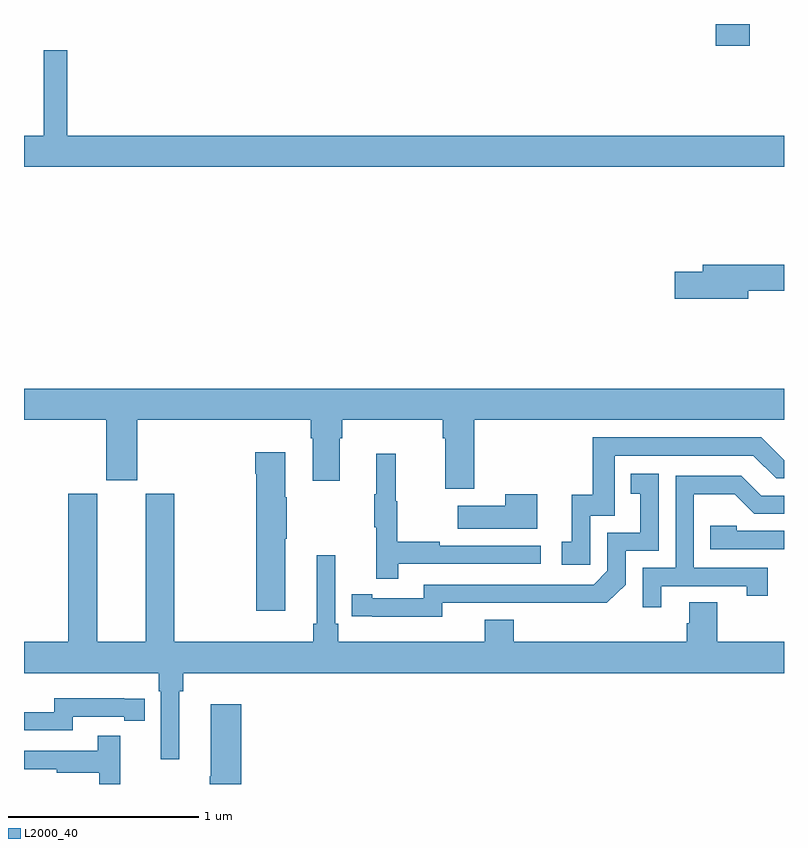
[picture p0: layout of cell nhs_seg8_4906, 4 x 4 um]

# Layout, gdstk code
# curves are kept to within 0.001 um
import gdstk
lib = gdstk.Library(unit=1e-6, precision=1e-09)
def R(c, l, rs):  # rectangles x0, y0, x1, y1
    for r in rs: c.add(gdstk.rectangle(r[:2], r[2:], *l))
def P(c, l, *ps):  # polygons
    for p in ps: c.add(gdstk.Polygon(p, *l))
L2000_40 = (2000, 40)

nhs_seg8_4906 = lib.new_cell('nhs_seg8_4906')
R(nhs_seg8_4906, L2000_40, [(410.642,1135.785,410.82,1135.9)])
P(nhs_seg8_4906, L2000_40, [(411,1135.312),(407.227,1135.312),(407.227,1135.762),(407.105,1135.762),(407.105,1135.312),(407,1135.312),(407,1135.148),(411,1135.148)],
  [(410.812,1134.496),(411,1134.496),(411,1134.632),(410.573,1134.632),(410.573,1134.596),(410.424,1134.596),(410.424,1134.454),(410.812,1134.454)],
  [(409.37,1133.816),(411,1133.816),(411,1133.98),(407,1133.98),(407,1133.816),(407.432,1133.816),(407.432,1133.499),(407.596,1133.499),(407.596,1133.816),(408.509,1133.816),(408.509,1133.72),(408.521,1133.72),(408.521,1133.496),(408.661,1133.496),(408.661,1133.72),(408.674,1133.72),(408.674,1133.816),(409.205,1133.816),(409.205,1133.72),(409.217,1133.72),(409.217,1133.454),(409.37,1133.454)],
  [(409.98,1133.313),(410.109,1133.313),(410.109,1133.628),(410.838,1133.628),(410.958,1133.508),(411,1133.508),(411,1133.604),(410.88,1133.724),(409.993,1133.724),(409.993,1133.422),(409.883,1133.422),(409.883,1133.175),(409.83,1133.175),(409.83,1133.055),(409.98,1133.055)],
  [(408.376,1133.191),(408.384,1133.191),(408.384,1133.408),(408.376,1133.408),(408.376,1133.647),(408.218,1133.647),(408.218,1133.534),(408.223,1133.534),(408.223,1132.812),(408.376,1132.812)],
  [(408.971,1133.058),(409.72,1133.058),(409.72,1133.154),(409.187,1133.154),(409.187,1133.174),(408.964,1133.174),(408.964,1133.388),(408.956,1133.388),(408.956,1133.638),(408.854,1133.638),(408.854,1133.425),(408.843,1133.425),(408.843,1133.251),(408.854,1133.251),(408.854,1132.98),(408.971,1132.98)],
  [(409.2,1132.854),(410.068,1132.853),(410.166,1132.95),(410.166,1133.127),(410.34,1133.127),(410.34,1133.533),(410.194,1133.533),(410.194,1133.427),(410.243,1133.427),(410.243,1133.223),(410.07,1133.223),(410.07,1133.022),(409.998,1132.95),(409.104,1132.95),(409.104,1132.878),(408.832,1132.878),(408.832,1132.898),(408.724,1132.898),(408.724,1132.782),(409.2,1132.781)],
  [(410.353,1132.941),(410.804,1132.941),(410.804,1132.89),(410.915,1132.89),(410.915,1133.037),(410.526,1133.037),(410.526,1133.426),(410.74,1133.426),(410.844,1133.322),(411,1133.322),(411,1133.418),(410.881,1133.418),(410.776,1133.523),(410.43,1133.523),(410.43,1133.037),(410.256,1133.037),(410.256,1132.83),(410.353,1132.83)],
  [(407.818,1132.388),(407.837,1132.388),(407.837,1132.484),(411,1132.484),(411,1132.648),(410.649,1132.648),(410.649,1132.856),(410.501,1132.856),(410.501,1132.746),(410.489,1132.746),(410.489,1132.648),(409.577,1132.648),(409.577,1132.765),(409.424,1132.765),(409.424,1132.648),(408.653,1132.648),(408.653,1132.744),(408.639,1132.744),(408.639,1133.104),(408.542,1133.104),(408.542,1132.744),(408.523,1132.744),(408.523,1132.648),(407.79,1132.648),(407.79,1133.427),(407.642,1133.427),(407.642,1132.648),(407.386,1132.648),(407.386,1133.427),(407.234,1133.427),(407.234,1132.648),(407,1132.648),(407,1132.484),(407.708,1132.484),(407.708,1132.388),(407.721,1132.388),(407.721,1132.029),(407.818,1132.029)],
  [(409.702,1133.425),(409.532,1133.425),(409.532,1133.365),(409.283,1133.365),(409.283,1133.243),(409.702,1133.243)],
  [(411,1133.232),(410.751,1133.232),(410.751,1133.259),(410.611,1133.259),(410.611,1133.136),(411,1133.136)],
  [(407.256,1132.254),(407.528,1132.254),(407.528,1132.234),(407.636,1132.234),(407.636,1132.35),(407.528,1132.35),(407.528,1132.351),(407.16,1132.351),(407.16,1132.278),(407,1132.278),(407,1132.182),(407.256,1132.182)],
  [(408.143,1132.321),(407.984,1132.321),(407.984,1131.941),(407.977,1131.941),(407.977,1131.9),(408.143,1131.9)],
  [(407.507,1132.153),(407.389,1132.153),(407.389,1132.074),(407,1132.074),(407,1131.978),(407.173,1131.978),(407.173,1131.958),(407.397,1131.958),(407.397,1131.9),(407.507,1131.9)])

lib.write_gds('nhs_seg8_4906.gds')
